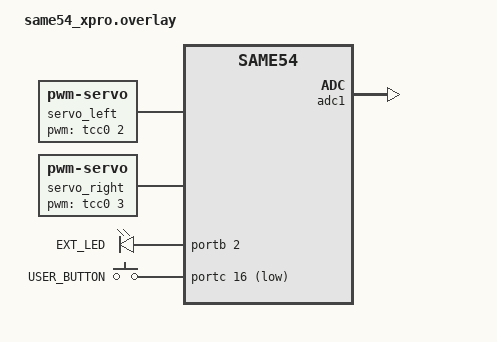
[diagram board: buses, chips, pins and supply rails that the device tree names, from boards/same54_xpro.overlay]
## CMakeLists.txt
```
cmake_minimum_required(VERSION 3.20.0)
find_package(Zephyr REQUIRED HINTS $ENV{ZEPHYR_BASE})
project(balancing_ball_zephyr)
target_sources(app PRIVATE 
                src/main.c
                src/resistive_touch_sensor.c
                src/pid.c
                )
```

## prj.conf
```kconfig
# Enable console output
CONFIG_SERIAL=y
CONFIG_CONSOLE=y
CONFIG_UART_CONSOLE=y

# Enable shells
CONFIG_SHELL=y
CONFIG_PWM_SHELL=y
CONFIG_ADC_SHELL=y
CONFIG_GPIO_SHELL=y

# Enable logging (optional)
CONFIG_LOG=y
CONFIG_LOG_DEFAULT_LEVEL=3

# Enable PWM
CONFIG_PWM=y

# Enable ADC
CONFIG_ADC=y

# Enable GPIO
CONFIG_GPIO=y
```

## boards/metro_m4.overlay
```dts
/ {
	aliases{
		adc-touch-sensor = &adc0;
		adc-touch-sensor-x = &adc0_ch4;
		adc-touch-sensor-y = &adc0_ch6;
	};

    touch_sensor_pins: touch_sensor_pins_node {
		// compatible = "gpio-keys";     // REQUIRED so the node is valid
		compatible = "zephyr,gpio-array";
        status = "okay";
		pinctrl-0 = <&touch_sensor_digital>;
    	pinctrl-names = "default";
		// x_m_pin: x-m-pin{
        // 	gpios = <&porta 18 GPIO_ACTIVE_HIGH>;
		// 	label = "X M Pin";
		// };
		// x_p_pin: x-p-pin{
        // 	gpios = <&porta 20 GPIO_ACTIVE_HIGH>;
		// 	label = "X P Pin";
		// };
		// y_m_pin: y-m-pin{
        // 	gpios = <&porta 21 GPIO_ACTIVE_HIGH>;
		// 	label = "Y M Pin";
		// };
		// y_p_pin: y-p-pin{
        // 	gpios = <&porta 19 GPIO_ACTIVE_HIGH>;
		// 	label = "Y P Pin";
		// };
    };

    servo_left: servo_left {
        compatible = "pwm-servo";
        pwms = <&tcc0 0 PWM_MSEC(20) PWM_POLARITY_NORMAL>;
        min-pulse = <PWM_USEC(544)>;
        max-pulse = <PWM_USEC(2400)>;
    };

    servo_right: servo_right {
        compatible = "pwm-servo";
        pwms = <&tcc0 2 PWM_MSEC(20) PWM_POLARITY_NORMAL>;
        min-pulse = <PWM_USEC(544)>;
        max-pulse = <PWM_USEC(2400)>;
    };
};

&pinctrl {
	sercom3_uart_default: sercom3_uart_default {
		group1 {
			pinmux = <PA22C_SERCOM3_PAD0>,
				 <PA23C_SERCOM3_PAD1>;
		};
	};
    servo_pins: servo_pins{
        group1 {
			pinmux = <PB12G_TCC0_WO0>, // D7
				 <PB14G_TCC0_WO2>;     // D5
		};
    };

    touch_sensor_analog: touch_sensor_analog{
        group1 {
			pinmux = <PA6B_ADC0_AIN6>, // A2
				 <PA4B_ADC0_AIN4>;     // A3
		};
    };
    touch_sensor_digital: touch_sensor_digital{
        group1 {
			pinmux = <PA18_GPIO>,
				 <PA19_GPIO>,
				 <PA20_GPIO>,
				 <PA21_GPIO>;
				 drive-strength = <1>;   /* High drive strength */
		};
    };
};


&tcc0 {
	status = "okay";
	compatible = "atmel,sam0-tcc-pwm";
	/* Gives a maximum period of 1.1s for 120MHz main clock */
	prescaler = <8>;
	#pwm-cells = <2>;

	pinctrl-0 = <&servo_pins>;
	pinctrl-names = "default";
};

&sercom3 {
	status = "okay";
	compatible = "atmel,sam0-uart";
	current-speed = <115200>;
	rxpo = <1>;
	txpo = <0>;
	#address-cells = <1>;
	#size-cells = <0>;

	pinctrl-0 = <&sercom3_uart_default>;
	pinctrl-names = "default";
};

&adc0 {
	status = "okay";
	pinctrl-0 =  <&touch_sensor_analog>;
    pinctrl-names = "default";

	/* Required so channel@N works with reg=<N>; */
    #address-cells = <1>;
    #size-cells = <0>;

	adc0_ch4: channel@4{
		reg = <4>;
		zephyr,gain = "ADC_GAIN_1";
		zephyr,reference = "ADC_REF_VDD_1";
		zephyr,vref-mv = <3300>; 
		zephyr,acquisition-time = <ADC_ACQ_TIME_DEFAULT>;
		zephyr,resolution = <12>;
	};
	
	adc0_ch6: channel@6{
		reg = <6>;
		zephyr,gain = "ADC_GAIN_1";
		zephyr,reference = "ADC_REF_VDD_1";
		zephyr,vref-mv = <3300>; 
		zephyr,acquisition-time = <ADC_ACQ_TIME_DEFAULT>;
		zephyr,resolution = <12>;
	};
};
```

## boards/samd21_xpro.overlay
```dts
/ {
    aliases {
        led1 = &ext_led;
        sw0 = &user_button;
        pwm0 = &tc6;
    };

    leds {
        compatible = "gpio-leds";
        ext_led: led_1 {
            gpios = <&portb 2 GPIO_ACTIVE_HIGH>;
            label = "EXT_LED";
        };
    };

    buttons {
        compatible = "gpio-keys";
        user_button: button_0 {
            gpios = <&porta 15 (GPIO_ACTIVE_LOW | GPIO_PULL_UP)>;
            label = "USER_BUTTON";
        };
    };
};

&pinctrl {
    pwm_tc6_pins: pwm_tc6_pins {
        group0 {
            pinmux = <ATMEL_SAM_PINMUX('B', 2, E)>;  /* PB02, TC6/WO[0] */
        };
        group1 {
            pinmux = <ATMEL_SAM_PINMUX('B', 3, E)>;  /* PB03, TC6/WO[1] */
        };
    };
};

&tc6 {
    status = "okay";
    pinctrl-0 = <&pwm_tc6_pins>;
    pinctrl-names = "default";
};



// add adc
```

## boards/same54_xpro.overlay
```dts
/ {
    aliases {
        led1 = &ext_led;
        sw0 = &user_button;
        pwm-servo = &tcc0;
    };

    servo_left: servo_left {
        compatible = "pwm-servo";
        pwms = <&tcc0 2 PWM_MSEC(20) PWM_POLARITY_NORMAL>;
        min-pulse = <PWM_USEC(700)>;
        max-pulse = <PWM_USEC(2500)>;
    };

    servo_right: servo_right {
        compatible = "pwm-servo";
        pwms = <&tcc0 3 PWM_MSEC(20) PWM_POLARITY_NORMAL>;
        min-pulse = <PWM_USEC(700)>;
        max-pulse = <PWM_USEC(2500)>;
    };

    leds {
        compatible = "gpio-leds";
        ext_led: led_1 {
            gpios = <&portb 2 GPIO_ACTIVE_HIGH>;
            label = "EXT_LED";
        };
    };

    buttons {
        compatible = "gpio-keys";
        user_button: button_0 {
            gpios = <&portc 16 (GPIO_ACTIVE_LOW | GPIO_PULL_UP)>;
            label = "USER_BUTTON";
        };
    };
};

&pinctrl {
    servo_pins: servo_pins{
        group1{
            pinmux = <PB14G_TCC0_WO2>, <PB15G_TCC0_WO3>;
        };
    };
    adc1_default: adc1_default {
        group1 {
            pinmux = <PB4B_ADC1_AIN6>, <PB5B_ADC1_AIN7>;
        };
    };
};

&tcc0 {
    pinctrl-0 = <&servo_pins>;
};

&adc1 {
    status = "okay";
    pinctrl-0 = <&adc1_default>;
    pinctrl-names = "default";
};
```

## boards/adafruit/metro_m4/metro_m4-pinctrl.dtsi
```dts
/*
 * Copyright (c) 2022, Gerson Fernando Budke <nandojve@gmail.com>
 * SPDX-License-Identifier: Apache-2.0
 */

#include <dt-bindings/pinctrl/samd51j-pinctrl.h>

&pinctrl {
	usb_dc_default: usb_dc_default {
		group1 {
			pinmux = <PA25H_USB_DP>,
				 <PA24H_USB_DM>;
		};
	};
};
```

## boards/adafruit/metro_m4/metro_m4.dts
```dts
/*
 * Copyright (c) 2019 Benjamin Valentin
 * Copyright (c) 2025 Brian Tate
 *
 * SPDX-License-Identifier: Apache-2.0
 */

/dts-v1/;
#include <atmel/samd5xx19.dtsi>
#include "metro_m4-pinctrl.dtsi"
#include <zephyr/dt-bindings/input/input-event-codes.h>

/ {
	model = "Metro M4";
	compatible = "adafruit,metro-m4";

	chosen {
		zephyr,console = &sercom3;
		zephyr,shell-uart = &sercom3;
		zephyr,sram = &sram0;
		zephyr,flash = &flash0;
	};

	/* These aliases are provided for compatibility with samples */
	aliases {
		led-red = &led_red;
		led-rx = &led_rx;
		led-tx = &led_tx;
//		neopixel-led = &neopixel_led0; //ToDo: look into this
	};

	leds {
		compatible = "gpio-leds";
		led_red: led_red {
			gpios = <&porta 16 GPIO_ACTIVE_HIGH>;
			label = "Red LED";
		};
		led_rx: led_rx {
			gpios = <&portb 6 GPIO_ACTIVE_LOW>;
			label = "USB RX LED";
		};
		led_tx: led_tx {
			gpios = <&porta 27 GPIO_ACTIVE_LOW>;
			label = "USB TX LED";
		};
	};
};

&cpu0 {
	clock-frequency = <120000000>;
};



zephyr_udc0: &usb0 {
	status = "okay";

	pinctrl-0 = <&usb_dc_default>;
	pinctrl-names = "default";
};

//ToDo: What is this for?
&flash0 {
	partitions {
		compatible = "fixed-partitions";
		#address-cells = <1>;
		#size-cells = <1>;

		/*
		 * The final 16 KiB is reserved for the application.
		 * Storage partition will be used by FCB/LittleFS/NVS
		 * if enabled.
		 */
		storage_partition: partition@fc000 {
			label = "storage";
			reg = <0x000fc000 0x00004000>;
		};
	};
};

//ToDo: add QSPI flash
```

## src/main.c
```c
#include <zephyr/kernel.h>
#include <zephyr/device.h>
#include <zephyr/sys/printk.h>

#include <zephyr/drivers/pwm.h>
#include "pid.h"
#include "resistive_touch_sensor.h"

#define STEP PWM_USEC(100)
#define SAMPLE_RATE (20) //ms

//Servos
#define SERVO_MID_US (PWM_USEC(1439))
#define SERVO_STEP (SERVO_MID_US - PWM_USEC(10))

uint32_t pid_x_output = SERVO_MID_US;
uint32_t pid_y_output = SERVO_MID_US;

static const struct pwm_dt_spec servo_left = PWM_DT_SPEC_GET(DT_NODELABEL(servo_left));
static const struct pwm_dt_spec servo_right = PWM_DT_SPEC_GET(DT_NODELABEL(servo_right));
//Note - min and max are the same for both servos
static const uint32_t min_pulse = DT_PROP(DT_NODELABEL(servo_left), min_pulse);
static const uint32_t max_pulse = DT_PROP(DT_NODELABEL(servo_left), max_pulse);

uint16_t sensorX_val = 0;
uint16_t sensorY_val = 0;
bool last_ball_state = true;

// PID
pid_t pid_x = {
	.kp = 4,
	.ki = 0.2,
	.kd = 3100,
	.error_last = 0,
	.PID_i = 0,
	.sampling_period = SAMPLE_RATE
};

pid_t pid_y = {
	.kp = 4,
	.ki = 0.2,
	.kd = 3100,
	.error_last = 0,
	.PID_i = 0,
	.sampling_period = SAMPLE_RATE
};

// private prototypes:
static bool isBallDetected(uint16_t x, uint16_t y);
static long map(long x, long in_min, long in_max, long out_min, long out_max);

//public functions

int main(void)
{
	printk("Amazing Balancing Ball!!!\r\n");

	int err;

	// check if gpio are ready //ToDo: is this needed?
	printk("check if gpio are ready\r\n");
	if (!gpio_is_ready_dt(&x_m_pin)) {
		printk("x_m_pin port is not ready.\n");
		return 0;
	}
	if (!gpio_is_ready_dt(&x_p_pin)) {
		printk("x_p_pin port is not ready.\n");
		return 0;
	}
	if (!gpio_is_ready_dt(&y_m_pin)) {
		printk("y_m_pin port is not ready.\n");
		return 0;
	}
	if (!gpio_is_ready_dt(&y_p_pin)) {
		printk("y_p_pin port is not ready.\n");
		return 0;
	}

    //configure pins
	printk("configure gpio\r\n");
	err = gpio_pin_configure_dt(&x_m_pin, GPIO_OUTPUT_INACTIVE);
	if (err != 0) {
		printk("Configuring GPIO pin failed: %d\n", err);
		return 0;
	}
	err = gpio_pin_configure_dt(&x_p_pin, GPIO_OUTPUT_INACTIVE);
	if (err != 0) {
		printk("Configuring GPIO pin failed: %d\n", err);
		return 0;
	}
	err = gpio_pin_configure_dt(&y_m_pin, GPIO_OUTPUT_INACTIVE);
	if (err != 0) {
		printk("Configuring GPIO pin failed: %d\n", err);
		return 0;
	}
	err = gpio_pin_configure_dt(&y_p_pin, GPIO_OUTPUT_INACTIVE);
	if (err != 0) {
		printk("Configuring GPIO pin failed: %d\n", err);
		return 0;
	}

	//configure adc
	printk("configure adc\r\n");
	if(!device_is_ready(touch_sensor_adc)){
		printk("Touch Sensor is not ready\r\n");
		return 0;
	}

	err = adc_channel_setup(touch_sensor_adc, &touch_sensor_adc_x);
	if(err<0){
		printk("Could not set up touch sensor x\r\n");
		return 0;
	}

	err = adc_channel_setup(touch_sensor_adc, &touch_sensor_adc_y);
	if(err<0){
		printk("Could not set up touch sensor y\r\n");
		return 0;
	}


    uint32_t pulse_width_left = SERVO_MID_US;
    uint32_t pulse_width_right = SERVO_MID_US;

	//
	printk("check if pwms are ready\r\n");
	if (!pwm_is_ready_dt(&servo_left)) {
		printk("Error: PWM device %s is not ready\n",
		       servo_left.dev->name);
		return 0;
	}
	if (!pwm_is_ready_dt(&servo_right)) {
		printk("Error: PWM device %s is not ready\n",
		       servo_right.dev->name);
		return 0;
	}

	//level the table
	pwm_set_pulse_dt(&servo_left, pulse_width_left);
	pwm_set_pulse_dt(&servo_right, pulse_width_right);

    while (1) {

		sensorX_val = touch_sensor_read_x();
		sensorY_val = touch_sensor_read_y();
		// sensorX_val = touch_sensor_read(&sensor_x);
		// sensorY_val = touch_sensor_read(&sensor_y);
		printk("x: %u ", sensorX_val);
		printk("y: %u\r\n", sensorY_val);
		
		bool is_ball_detected = isBallDetected(sensorX_val,sensorY_val);
		if(!is_ball_detected){
			if(last_ball_state)
				printk("no ball detected\r\n");

			pid_x_output = SERVO_MID_US;
			pid_y_output = SERVO_MID_US;
			pid_clear_values(&pid_x);
			pid_clear_values(&pid_y);
		}
		else{ 
			if(!last_ball_state)
				printk("ball detected\r\n");

			pid_x_output = pid_control(&pid_x, TOUCHSCREEN_CENTER, sensorX_val);
			pulse_width_left = map(pid_x_output, -16000, 16000, min_pulse, max_pulse);
			pid_y_output = pid_control(&pid_y, sensorY_val, TOUCHSCREEN_CENTER);
			pulse_width_right = map(pid_y_output, -16000, 16000, min_pulse, max_pulse);
		}
		last_ball_state = is_ball_detected;

        err = pwm_set_pulse_dt(&servo_left, pulse_width_left);
        if (err < 0) {
			printk("Error %d: failed to set pulse width left\n", err);
			return 0;
		}

        err = pwm_set_pulse_dt(&servo_right, pulse_width_right);
		if (err < 0) {
			printk("Error %d: failed to set pulse width right\n", err);
			return 0;
		}

        k_sleep(K_MSEC(SAMPLE_RATE));
    }
}

// private functions:

static bool isBallDetected(uint16_t x, uint16_t y)
{
    return((x > 300) && (y > 300));
}

// helper function to map a value from one range to another
static long map(long x, long in_min, long in_max, long out_min, long out_max) {
  return (x - in_min) * (out_max - out_min) / (in_max - in_min) + out_min;
}
```

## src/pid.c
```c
#include "pid.h"

void pid_clear_values(pid_t *pid){
    pid->error_last = 0;
    pid->PID_i = 0;
}

// float PidControl(uint16_t measured, uint16_t setpoint, float *error_last, float *PID_i)
float pid_control(pid_t *pid, uint16_t measured, uint16_t setpoint)
{
    float PID_p, PID_d, PID_total;
    float error;

    error = setpoint - measured;
    PID_p = pid->kp * error;

    PID_d = pid->kd*((error - pid->error_last)/pid->sampling_period);

    if(-100 < error && error < 100)
    {
      pid->PID_i = pid->PID_i + (pid->ki * error);
    }
    else
    {
      pid->PID_i = 0;
    }

    PID_total = PID_p + pid->PID_i + PID_d;

    PID_total = PID_p + pid->PID_i + PID_d;  
    
    pid->error_last = error;
    return PID_total;
}
```

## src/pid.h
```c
#ifndef _PID_H
#define _PID_H

#include <stdint.h>

#ifdef __cplusplus  // Provide C++ Compatibility

extern "C" {

#endif

typedef struct{
    float kp; //4; //8
    float ki; //0.2
    float kd; //3100
    float error_last;
    float PID_i;
    int sampling_period;
} pid_t;


void pid_clear_values(pid_t *pid);
float pid_control(pid_t *pid, uint16_t measured, uint16_t setpoint);


#ifdef __cplusplus
}
#endif

#endif //_PID_H
```

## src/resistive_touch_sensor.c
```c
#include "resistive_touch_sensor.h"
#include <zephyr/drivers/adc.h>
#include <zephyr/drivers/gpio.h>

// uint16_t touch_sensor_read(touch_sensor_t *sensor){
// 	uint16_t value;
// 	//Set x pins to outputs
// 	//Set y pins to inputs
// 	//drive xm low
// 	//drive xp high
// 	sensor->high_z_pin_1();
// 	sensor->high_z_pin_2();
// 	sensor->drive_high_pin();
// 	sensor->drive_low_pin();

// 	//wait for settling period
// 	sensor->wait_to_settle();

// 	//read ADC
// 	value = sensor->adc_read();

// 	// set xp low
// 	// restore all pins to high z
// 	return value;
// }

//ADC's
#define TOUCH_SENSOR_X DT_ALIAS(adc_touch_sensor_x)
#define TOUCH_SENSOR_Y DT_ALIAS(adc_touch_sensor_y)
static const struct device *touch_sensor_adc = DEVICE_DT_GET(DT_ALIAS(adc_touch_sensor));
static const struct adc_channel_cfg touch_sensor_adc_x = ADC_CHANNEL_CFG_DT(TOUCH_SENSOR_X);
static const struct adc_channel_cfg touch_sensor_adc_y = ADC_CHANNEL_CFG_DT(TOUCH_SENSOR_Y);

uint16_t buf_x;
uint16_t val_mv_x;
uint32_t vref_mv_x = DT_PROP(TOUCH_SENSOR_X, zephyr_vref_mv);

uint16_t buf_y;
uint16_t val_mv_y;
uint32_t vref_mv_y = DT_PROP(TOUCH_SENSOR_Y, zephyr_vref_mv);

struct adc_sequence seq_x = {
	.channels = BIT(touch_sensor_adc_x.channel_id),
	.buffer = &buf_x,
	.buffer_size = sizeof(buf_x),
	.resolution = DT_PROP(TOUCH_SENSOR_X, zephyr_resolution)
};

struct adc_sequence seq_y = {
	.channels = BIT(touch_sensor_adc_y.channel_id),
	.buffer = &buf_y,
	.buffer_size = sizeof(buf_y),
	.resolution = DT_PROP(TOUCH_SENSOR_Y, zephyr_resolution)
};

//GPIO's 
static const struct gpio_dt_spec x_m_pin = GPIO_DT_SPEC_GET(DT_NODELABEL(x_m_pin), gpios);
static const struct gpio_dt_spec x_p_pin = GPIO_DT_SPEC_GET(DT_NODELABEL(x_p_pin), gpios);
static const struct gpio_dt_spec y_m_pin = GPIO_DT_SPEC_GET(DT_NODELABEL(y_m_pin), gpios);
static const struct gpio_dt_spec y_p_pin = GPIO_DT_SPEC_GET(DT_NODELABEL(y_p_pin), gpios);


int touch_sensor_init(void){
    int err;
    //check if gpio are ready //ToDo: is this needed?
	printk("check if gpio are ready\r\n");
	if (!gpio_is_ready_dt(&x_m_pin)) {
		printk("x_m_pin port is not ready.\n");
		return 0;
	}
	if (!gpio_is_ready_dt(&x_p_pin)) {
		printk("x_p_pin port is not ready.\n");
		return 0;
	}
	if (!gpio_is_ready_dt(&y_m_pin)) {
		printk("y_m_pin port is not ready.\n");
		return 0;
	}
	if (!gpio_is_ready_dt(&y_p_pin)) {
		printk("y_p_pin port is not ready.\n");
		return 0;
	}

    //configure pins
	printk("configure gpio\r\n");
	err = gpio_pin_configure_dt(&x_m_pin, GPIO_OUTPUT_INACTIVE);
	if (err != 0) {
		printk("Configuring GPIO pin failed: %d\n", err);
		return 0;
	}
	err = gpio_pin_configure_dt(&x_p_pin, GPIO_OUTPUT_INACTIVE);
	if (err != 0) {
		printk("Configuring GPIO pin failed: %d\n", err);
		return 0;
	}
	err = gpio_pin_configure_dt(&y_m_pin, GPIO_OUTPUT_INACTIVE);
	if (err != 0) {
		printk("Configuring GPIO pin failed: %d\n", err);
		return 0;
	}
	err = gpio_pin_configure_dt(&y_p_pin, GPIO_OUTPUT_INACTIVE);
	if (err != 0) {
		printk("Configuring GPIO pin failed: %d\n", err);
		return 0;
	}

	//configure adc
	printk("configure adc\r\n");
	if(!device_is_ready(touch_sensor_adc)){
		printk("Touch Sensor is not ready\r\n");
		return 0;
	}

	err = adc_channel_setup(touch_sensor_adc, &touch_sensor_adc_x);
	if(err<0){
		printk("Could not set up touch sensor x\r\n");
		return 0;
	}

	err = adc_channel_setup(touch_sensor_adc, &touch_sensor_adc_y);
	if(err<0){
		printk("Could not set up touch sensor y\r\n");
		return 0;
	}

    return 0;
}

uint16_t touch_sensor_read_x(void){

    int err = 0;
	err =  gpio_pin_configure_dt(&x_m_pin, GPIO_OUTPUT);
    err += gpio_pin_configure_dt(&x_p_pin, GPIO_OUTPUT);
    err += gpio_pin_configure_dt(&y_m_pin, GPIO_INPUT);
    err += gpio_pin_configure_dt(&y_p_pin, GPIO_INPUT);

	if(err != 0){
		printk("error configuring GPIO before measurement\r\n");
		return 0;
	}
    
	err = 0;
    err =  gpio_pin_set_dt(&x_p_pin, 0);
    err += gpio_pin_set_dt(&x_m_pin, 1);

	if(err != 0){
		printk("error setting GPIO before measurement\r\n");
		return 0;
	}

    k_sleep(K_MSEC(1));

	int ret = adc_read(touch_sensor_adc, &seq_x);
	if(ret<0){
		printk("Could not read touch sensor x: %d\r\n", ret);
	}
	val_mv_x = buf_x * vref_mv_x /(1 << seq_x.resolution);
	// printk("X RAW: %u, mV: %u\r\n", buf_x, val_mv_x);

	err = 0;
    err = gpio_pin_set_dt(&x_m_pin, 0);
	if(err != 0){
		printk("error setting GPIO after measurement\r\n");
		return 0;
	}

	err = 0;
    err =  gpio_pin_configure_dt(&x_m_pin, GPIO_INPUT);
    err += gpio_pin_configure_dt(&x_p_pin, GPIO_INPUT);
	if(err != 0){
		printk("error configuring GPIO after measurement\r\n");
		return 0;
	}

  return(val_mv_x);
    
}

uint16_t touch_sensor_read_y(void){

	int err = 0;
    err =  gpio_pin_configure_dt(&x_m_pin, GPIO_INPUT);
    err += gpio_pin_configure_dt(&x_p_pin, GPIO_INPUT);
    err += gpio_pin_configure_dt(&y_m_pin, GPIO_OUTPUT);
    err += gpio_pin_configure_dt(&y_p_pin, GPIO_OUTPUT);

	if(err != 0){
		printk("error configuring GPIO before measurement\r\n");
		return 0;
	}
    
	err = 0;
    err =  gpio_pin_set_dt(&y_p_pin, 0);
    err += gpio_pin_set_dt(&y_m_pin, 1);

	if(err != 0){
		printk("error setting GPIO before measurement\r\n");
		return 0;
	}

    k_sleep(K_MSEC(1));

	int ret = adc_read(touch_sensor_adc, &seq_y);
	if(ret<0){
		printk("Could not read touch sensor y: %d\r\n", ret);
	}
	val_mv_y = buf_y * vref_mv_y /(1 << seq_y.resolution);
	// printk("Y RAW: %u, mV: %u\r\n", buf_y, val_mv_y);

	err = 0;
    err = gpio_pin_set_dt(&y_m_pin, 0);

	if(err != 0){
		printk("error setting GPIO after measurement\r\n");
		return 0;
	}

	err = 0;
    err = gpio_pin_configure_dt(&y_m_pin, GPIO_INPUT);
    err += gpio_pin_configure_dt(&y_p_pin, GPIO_INPUT);
	if(err != 0){
		printk("error configuring GPIO after measurement\r\n");
		return 0;
	}


    return(val_mv_y);
}
```

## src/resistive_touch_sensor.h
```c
//resistive_touch_sensor.h
#ifndef _RESISTIVE_TOUCH_SENSOR_H
#define _RESISTIVE_TOUCH_SENSOR_H

#include <stdint.h>
#include <stdbool.h>

#define TOUCHSCREEN_CENTER (1615)

#ifdef __cplusplus  // Provide C++ Compatibility

extern "C" {

#endif

// typedef int      (*high_z_pin_1_t)(void);
// typedef int      (*high_z_pin_2_t)(void);
// typedef int      (*drive_high_pin_t)(void);
// typedef int      (*drive_low_pin_t)(void);
// typedef void     (*wait_to_settle_t)(void);
// typedef uint16_t (*adc_read_t)(void);

// typedef struct {
//     high_z_pin_1_t   high_z_pin_1;
//     high_z_pin_2_t   high_z_pin_2;    
//     drive_high_pin_t drive_high_pin;
//     drive_low_pin_t  drive_low_pin;
//     wait_to_settle_t wait_to_settle;
//     adc_read_t       adc_read;
// }touch_sensor_t;

// uint16_t touch_sensor_read(touch_sensor_t *sensor);

int touch_sensor_init(void);
uint16_t touch_sensor_read_x(void);
uint16_t touch_sensor_read_y(void);

#ifdef __cplusplus
}
#endif

#endif //_RESISTIVE_TOUCH_SENSOR_H
```
